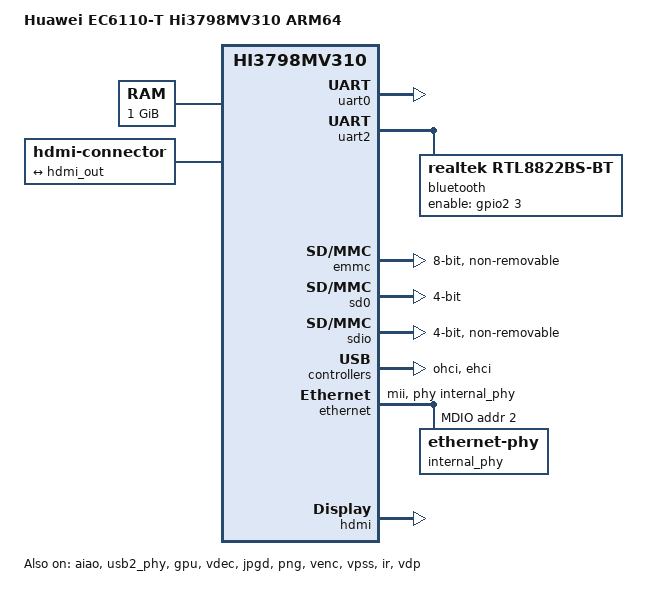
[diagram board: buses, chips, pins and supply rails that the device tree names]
// SPDX-License-Identifier: (GPL-2.0-only OR BSD-2-Clause)
/dts-v1/;
#include "hi3798mv310.dtsi"
#include <dt-bindings/gpio/gpio.h>

/ {
	model = "Huawei EC6110-T Hi3798MV310 ARM64";
	compatible = "huawei,ec6110t", "hisilicon,hi3798mv310";

	aliases {
		serial0 = &uart0;
		serial1 = &uart2;
		mmc0 = &emmc;
		mmc1 = &sd0;
		mmc2 = &sdio;
		ethernet0 = &ethernet;
	};

	chosen {
		stdout-path = "serial0:115200n8";
		bootargs = "console=ttyAMA0,115200 earlycon=pl011,0xf8b00000 loglevel=8 ignore_loglevel keep_bootcon printk.time=1 clk_ignore_unused rdinit=/init panic=0";
	};

	memory@0 {
		device_type = "memory";
		reg = <0 0 0 0x40000000>;
	};

	reserved-memory {
		#address-cells = <2>;
		#size-cells = <2>;
		ranges;

		handoff@11000000 {
			reg = <0 0x11000000 0 0x10000>;
			no-map;
		};

		/* Keep the vendor's high-memory DMA area out of early bring-up. */
		boot-reserved@3c000000 {
			reg = <0 0x3c000000 0 0x4000000>;
			no-map;
		};

		/* Reusable: idle decoder pages remain available to Linux. */
		vdec_reconstruction: dma-pool@18000000 {
			compatible = "shared-dma-pool";
			reg = <0 0x18000000 0 0x18000000>;
			reusable;
		};

		vdec_capture: dma-pool@4000000 {
			compatible = "shared-dma-pool";
			reg = <0 0x04000000 0 0x0c000000>;
			reusable;
		};
	};

	hdmi-connector {
		compatible = "hdmi-connector";
		type = "a";
		port {
			hdmi_connector_in: endpoint {
				remote-endpoint = <&hdmi_out>;
			};
		};
	};

	sound {
		compatible = "simple-audio-card";
		simple-audio-card,name = "EC6110T-HDMI";
		simple-audio-card,format = "i2s";
		simple-audio-card,bitclock-master = <&hdmi_sound_cpu>;
		simple-audio-card,frame-master = <&hdmi_sound_cpu>;
		hdmi_sound_cpu: simple-audio-card,cpu {
			sound-dai = <&aiao 1>;
		};
		simple-audio-card,codec {
			sound-dai = <&hdmi>;
		};
	};

	sd_io: regulator-sd-io {
		compatible = "hisilicon,hi3798mv310-sd-io-regulator";
		hisilicon,peripheral-syscon = <&peri_ctrl>;
		regulator-name = "sd0-io-3v3";
		regulator-min-microvolt = <3300000>;
		regulator-max-microvolt = <3300000>;
	};
};

&aiao {
	status = "okay";
};

/* The bundled EL3 handoff owns this mailbox; do not claim vendor PSCI. */
&cpu0 {
	enable-method = "spin-table";
	cpu-release-addr = <0 0x1100f000>;
};
&cpu1 {
	enable-method = "spin-table";
	cpu-release-addr = <0 0x1100f000>;
};
&cpu2 {
	enable-method = "spin-table";
	cpu-release-addr = <0 0x1100f000>;
};
&cpu3 {
	enable-method = "spin-table";
	cpu-release-addr = <0 0x1100f000>;
};

&uart0 {
	status = "okay";
};

/* Vendor ttyAMA1/H5 route; retain the observed bootloader clock and pinmux. */
&uart2 {
	status = "okay";

	bluetooth {
		compatible = "realtek,rtl8822bs-bt";
		/* Reference rtk_rfkill pulses GPIO19 (GPIO2_3) low, then high. */
		enable-gpios = <&gpio2 3 GPIO_ACTIVE_HIGH>;
	};
};

&gpio2 {
	status = "okay";
};

&emmc {
	bus-width = <8>;
	max-frequency = <50000000>;
	non-removable;
	cap-mmc-highspeed;
	/* BSP MV310 legacy/MMC_HS: sample tap7, drive tap4. */
	clk-phase-legacy = <315 180>;
	clk-phase-mmc-hs = <315 180>;
	no-sd;
	no-sdio;
	status = "okay";
};

&sd0 {
	bus-width = <4>;
	max-frequency = <50000000>;
	cap-sd-highspeed;
	disable-wp;
	no-1-8-v;
	no-mmc;
	no-sdio;
	vqmmc-supply = <&sd_io>;
	pinctrl-names = "default";
	pinctrl-0 = <&sd0_pins>;
	/* BSP SD0 legacy/SD_HS: sample tap0, drive tap4. */
	clk-phase-legacy = <0 180>;
	clk-phase-sd-hs = <0 180>;
	status = "okay";
};

&sdio {
	bus-width = <4>;
	max-frequency = <25000000>;
	non-removable;
	cap-sd-highspeed;
	cap-sdio-irq;
	keep-power-in-suspend;
	no-1-8-v;
	no-mmc;
	no-sd;
	/* Inherit bootloader mux, bias and supply; do not guess module GPIOs. */
	clk-phase-legacy = <0 180>;
	clk-phase-sd-hs = <0 180>;
	status = "okay";
};

&usb2_phy {
	status = "okay";
};
&ohci {
	status = "okay";
};
&ehci {
	status = "okay";
};

&ethernet {
	phy-mode = "mii";
	phy-handle = <&internal_phy>;
	status = "okay";

	mdio {
		#address-cells = <1>;
		#size-cells = <0>;

		internal_phy: ethernet-phy@2 {
			reg = <2>;
		};
	};
};

&gpu {
	status = "okay";
};

&vdec {
	memory-region = <&vdec_reconstruction>, <&vdec_capture>;
	memory-region-names = "reconstruction", "capture";
	status = "okay";
};

&jpgd {
	status = "okay";
};

&png {
	status = "okay";
};

&venc {
	status = "okay";
};

&vpss {
	status = "okay";
};

&ir {
	linux,rc-map-name = "rc-ec6110t";
	status = "okay";
};

&vdp {
	status = "okay";
};

&hdmi {
	status = "okay";
};

&hdmi_out {
	remote-endpoint = <&hdmi_connector_in>;
};
